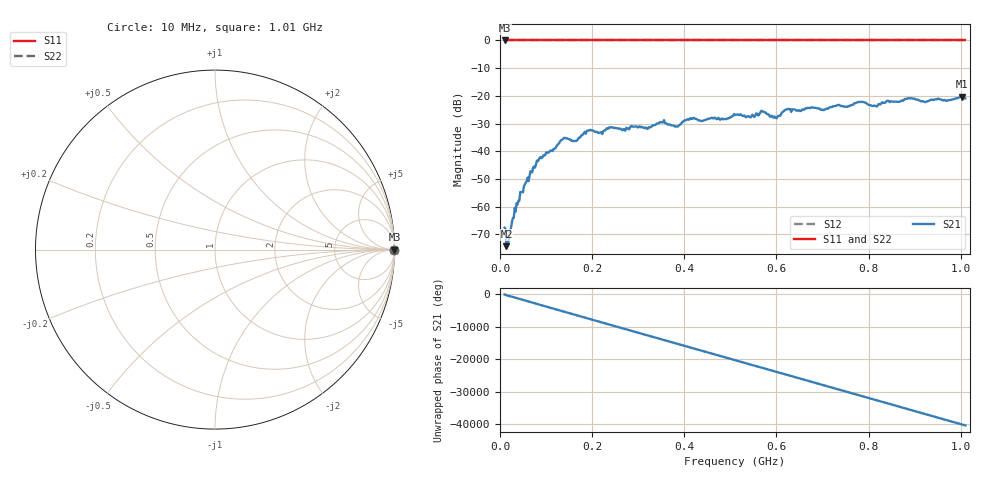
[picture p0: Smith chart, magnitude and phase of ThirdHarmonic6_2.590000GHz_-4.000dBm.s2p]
! 8/17/2025 5:32:20 AM
! C:\ANRITSUVNA\TEMP\TEMP.S2P
! CHANNEL.1
! TR.MEASUREMENT
! RAW.DATA
! RF.CORRECTION.OFF
! AVERAGING.OFF
! IF.BANDWIDTH: 5KHZ
! SWEEPTYPE:  FREQ.SWEEP(Linear)
! Reference Plane Port Info
! PORT:  PORT1  PORT2
! DISTANCE:  0  m  0  m
! TIME:  0  s  0  s
! PHASE.OFFSET:  0  deg.  0  deg.
! LOSS:  0  dB  0  dB
! REF.LOSS:  0  dB  0  dB
! REF.FREQ:  0  Hz  0  Hz
! Power Info
! POWER:  -20  dBm  -20  dBm
! EFF.POWER:  -20  dBm  -20  dBm
! SOURCE.ATTEN:  0  dB  0  dB
! TEST.ATTEN:  0  dB  0  dB
# GHZ S RI R 50.0
! FREQ.GHZ  S11RE  S11IM  S21RE  S21IM  S12RE  S12IM  S22RE  S22IM
!; PortSelection: Port_12
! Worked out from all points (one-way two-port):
!   501 points, 10 MHz to 1.01 GHz, reference 50 ohm
!   highest |S21| = -20.27 dB at 1.002 GHz (marker M1); lowest = -74.3 dB at 14 MHz (marker M2)
!   lowest |S11| = 0.0 dB at 10 MHz (marker M3)
!   |S11| at or under -10 dB: nowhere
!   |S22| runs from 0.0 to 0.0 dB; largest |S21 - S12| = 1.1
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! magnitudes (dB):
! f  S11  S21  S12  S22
! 10 MHz  0.0  -67.6  0.0  0.0
! 14 MHz  0.0  -74.3  0.0  0.0
! 18 MHz  0.0  -72.8  0.0  0.0
! 32 MHz  0.0  -60.4  0.0  0.0
! 48 MHz  0.0  -54.7  0.0  0.0
! 84 MHz  0.0  -43.2  0.0  0.0
! 136 MHz  0.0  -35.7  0.0  0.0
! 162 MHz  0.0  -36.3  0.0  0.0
! 178 MHz  0.0  -34.1  0.0  0.0
! 194 MHz  0.0  -32.4  0.0  0.0
! 322 MHz  0.0  -31.5  0.0  0.0
! 344 MHz  0.0  -30.0  0.0  0.0
! 384 MHz  0.0  -31.1  0.0  0.0
! 416 MHz  0.0  -28.3  0.0  0.0
! 510 MHz  0.0  -26.9  0.0  0.0
! 570 MHz  0.0  -25.7  0.0  0.0
! 598 MHz  0.0  -27.9  0.0  0.0
! 622 MHz  0.0  -24.9  0.0  0.0
! 678 MHz  0.0  -24.2  0.0  0.0
! 844 MHz  0.0  -22.0  0.0  0.0
! 1.002 GHz  0.0  -20.3  0.0  0.0
! 1.01 GHz  0.0  -20.9  0.0  0.0
